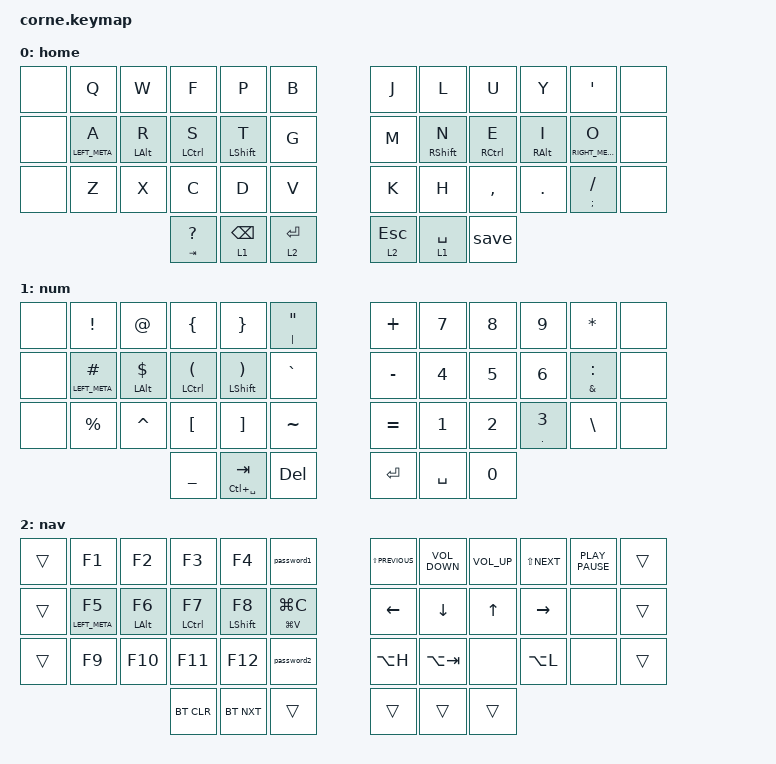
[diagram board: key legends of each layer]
/*
 * Copyright (c) 2020 The ZMK Contributors
 *
 * SPDX-License-Identifier: MIT
 */

#include <behaviors.dtsi>
#include <dt-bindings/zmk/bt.h>
#include <dt-bindings/zmk/keys.h>

/ {
    behaviors {
        hm: homerow_mods {
            compatible = "zmk,behavior-hold-tap";
            label = "HOMEROW_MODS";
            bindings = <&kp>, <&kp>;

            #binding-cells = <2>;
            tapping-term-ms = <230>;
            flavor = "tap-preferred";
            require-prior-idle-ms = <125>;
            quick-tap-ms = <230>;
        };

        shifthr: shifthr {
            compatible = "zmk,behavior-hold-tap";
            label = "SHIFTHR";
            bindings = <&kp>, <&kp>;

            #binding-cells = <2>;
            tapping-term-ms = <185>;
            flavor = "tap-preferred";
            quick-tap-ms = <185>;
        };

        weak: weak {
            compatible = "zmk,behavior-hold-tap";
            label = "WEAK";
            bindings = <&kp>, <&kp>;

            #binding-cells = <2>;
            tapping-term-ms = <230>;
            flavor = "tap-preferred";
            require-prior-idle-ms = <125>;
            quick-tap-ms = <230>;
        };

        backspace: backspace {
            compatible = "zmk,behavior-tap-dance";
            label = "BACKSPACE";
            #binding-cells = <0>;
            bindings = <&kp BACKSPACE>, <&kp LC(BACKSPACE)>;
        };
    };

    combos {
        compatible = "zmk,combos";

        escape {
            bindings = <&kp ESCAPE>;
            key-positions = <16 19>;
        };

        under {
            bindings = <&kp UNDER>;
            key-positions = <28 31>;
        };

        dash {
            bindings = <&kp MINUS>;
            key-positions = <4 7>;
        };

        capsword {
            bindings = <&caps_word>;
            key-positions = <13 22>;
        };
    };

    macros {
        save: save {
            compatible = "zmk,behavior-macro";
            #binding-cells = <0>;
            bindings = <&macro_tap>, <&kp ESCAPE &kp COLON &kp W &kp ENTER>;

            label = "SAVE";
        };

        password1: pwd-1 {
            compatible = "zmk,behavior-macro";
            #binding-cells = <0>;
            bindings =
                <&macro_tap>,
                <&kp C &kp H &kp N1 &kp C &kp K &kp P &kp E &kp A &kp N5 &kp ENTER>;

            label = "pwd";
        };

        password2: pwd-vm {
            compatible = "zmk,behavior-macro";
            #binding-cells = <0>;
            bindings =
                <&macro_tap>,
                <&kp LS(G) &kp U &kp G &kp G &kp E &kp N &kp H &kp E &kp N1 &kp M &kp ENTER>;

            label = "pwd-vm";
        };
    };

    keymap {
        compatible = "zmk,keymap";

        home {
            // -----------------------------------------------------------------------------------------
            // |  TAB |  Q  |  W  |  E  |  R  |  T  |   |  Y  |  U   |  I  |  O  |  P  | BKSP |
            // | CTRL |  A  |  S  |  D  |  F  |  G  |   |  H  |  J   |  K  |  L  |  ;  |  '   |
            // | SHFT |  Z  |  X  |  C  |  V  |  B  |   |  N  |  M   |  ,  |  .  |  /  | ESC  |
            //                    | GUI | LWR | SPC |   | ENT | RSE  | ALT |

            bindings = <
&none  &kp Q              &kp W             &kp F                    &kp P                  &kp B          &kp J      &kp L              &kp U             &kp Y              &kp APOS             &none
&none  &weak LEFT_META A  &weak LEFT_ALT R  &shifthr LEFT_CONTROL S  &shifthr LEFT_SHIFT T  &kp G          &kp M      &shifthr RSHIFT N  &shifthr RCTRL E  &weak RIGHT_ALT I  &weak RIGHT_META O   &none
&none  &kp Z              &kp X             &kp C                    &kp D                  &kp V          &kp K      &kp H              &kp COMMA         &kp DOT            &hm SEMICOLON SLASH  &none
                                            &weak TAB QMARK          &lt 1 BACKSPACE        &lt 2 ENTER    &lt 2 ESC  &lt 1 SPACE        &save
            >;

            label = "home";
        };

        num {
            // -----------------------------------------------------------------------------------------
            // |  TAB |  !  |  @  |  #  |  $  |  %  |   |  ^  |  &  |  *  |  (  |  )  | BKSP |
            // | CTRL |     |     |     |     |     |   |  -  |  =  |  [  |  ]  |  \  |  `   |
            // | SHFT |     |     |     |     |     |   |  _  |  +  |  {  |  }  | "|" |  ~   |
            //                    | GUI |     | SPC |   | ENT |     | ALT |

            bindings = <
&none  &kp EXCL            &kp AT               &kp LEFT_BRACE              &kp RIGHT_BRACE                   &hm PIPE DOUBLE_QUOTES    &kp PLUS   &kp NUMBER_7  &kp N8        &kp N9                    &kp ASTERISK         &none
&none  &hm LEFT_META HASH  &hm LEFT_ALT DOLLAR  &hm LCTRL LEFT_PARENTHESIS  &hm LEFT_SHIFT RIGHT_PARENTHESIS  &kp GRAVE                 &kp MINUS  &kp NUMBER_4  &kp NUMBER_5  &kp NUMBER_6              &hm AMPERSAND COLON  &none
&none  &kp PERCENT         &kp CARET            &kp LEFT_BRACKET            &kp RIGHT_BRACKET                 &kp TILDE                 &kp EQUAL  &kp NUMBER_1  &kp NUMBER_2  &shifthr PERIOD NUMBER_3  &kp BACKSLASH        &none
                                                &kp UNDERSCORE              &mt LC(SPACE) TAB                 &kp DEL                   &kp RET    &kp SPACE     &kp N0
            >;

            label = "num";
        };

        nav {
            bindings = <
&trans  &kp F1            &kp F2           &kp F3        &kp F4             &password1         &kp LS(K_PREVIOUS)  &kp C_VOLUME_DOWN  &kp C_VOLUME_UP  &kp LS(K_NEXT)  &kp K_PLAY_PAUSE  &trans
&trans  &hm LEFT_META F5  &hm LEFT_ALT F6  &hm LCTRL F7  &hm LEFT_SHIFT F8  &hm LG(V) LG(C)    &kp LEFT_ARROW      &kp DOWN           &kp UP_ARROW     &kp RIGHT       &none             &trans
&trans  &kp F9            &kp F10          &kp F11       &kp F12            &password2         &kp LA(H)           &kp LA(TAB)        &none            &kp LA(L)       &none             &trans
                                           &bt BT_CLR    &bt BT_NXT         &trans             &trans              &trans             &trans
            >;

            label = "nav";
        };
    };
};
